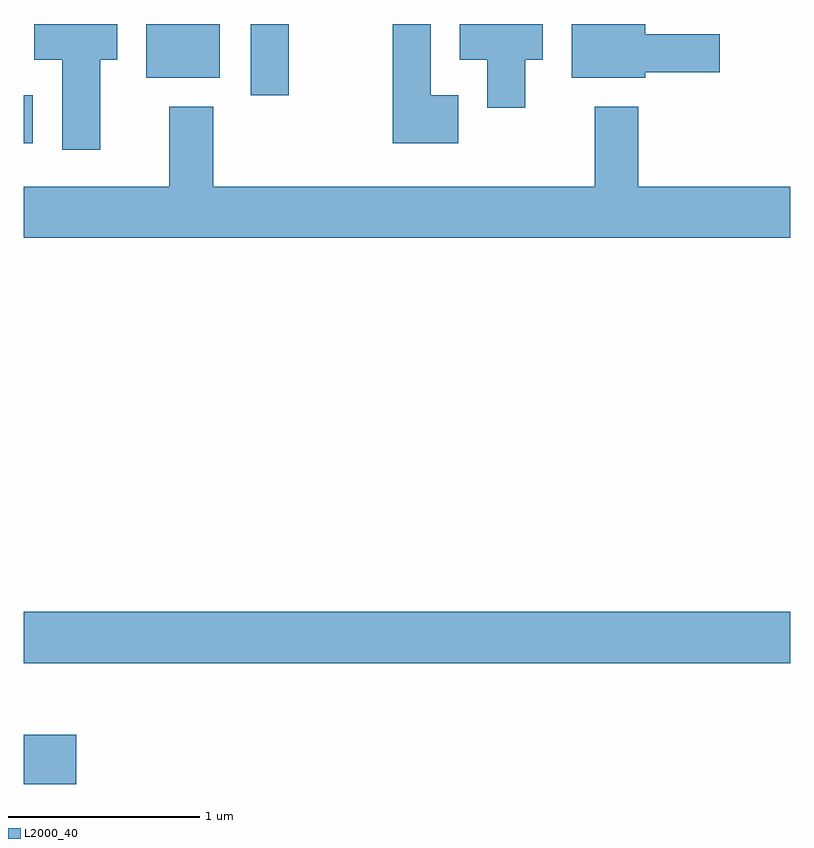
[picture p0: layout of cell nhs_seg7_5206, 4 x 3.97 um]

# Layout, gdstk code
import gdstk
lib = gdstk.Library(unit=1e-6, precision=1e-09)
def R(c, l, rs):  # rectangles x0, y0, x1, y1
    for r in rs: c.add(gdstk.rectangle(r[:2], r[2:], *l))
def P(c, l, *ps):  # polygons
    for p in ps: c.add(gdstk.Polygon(p, *l))
L2000_40 = (2000, 40)

nhs_seg7_5206 = lib.new_cell('nhs_seg7_5206')
R(nhs_seg7_5206, L2000_40, [(343.611,1780.286,343.884,1780.544), (343.611,1780.916,347.611,1781.184), (343.611,1783.631,343.659,1783.879), (344.796,1783.881,344.994,1784.252), (344.251,1783.971,344.634,1784.252)])
P(nhs_seg7_5206, L2000_40, [(346.229,1784.066),(346.319,1784.066),(346.319,1784.252),(345.886,1784.252),(345.886,1784.066),(346.031,1784.066),(346.031,1783.816),(346.229,1783.816)],
  [(345.879,1783.879),(345.734,1783.879),(345.734,1784.252),(345.536,1784.252),(345.536,1783.631),(345.879,1783.631)],
  [(344.009,1784.066),(344.099,1784.066),(344.099,1784.252),(343.666,1784.252),(343.666,1784.066),(343.811,1784.066),(343.811,1783.596),(344.009,1783.596)],
  [(346.854,1784.001),(347.244,1784.001),(347.244,1784.199),(346.854,1784.199),(346.854,1784.252),(346.471,1784.252),(346.471,1783.971),(346.854,1783.971)],
  [(347.611,1783.404),(346.819,1783.404),(346.819,1783.819),(346.591,1783.819),(346.591,1783.404),(344.599,1783.404),(344.599,1783.819),(344.371,1783.819),(344.371,1783.404),(343.611,1783.404),(343.611,1783.136),(347.611,1783.136)])

lib.write_gds('nhs_seg7_5206.gds')
